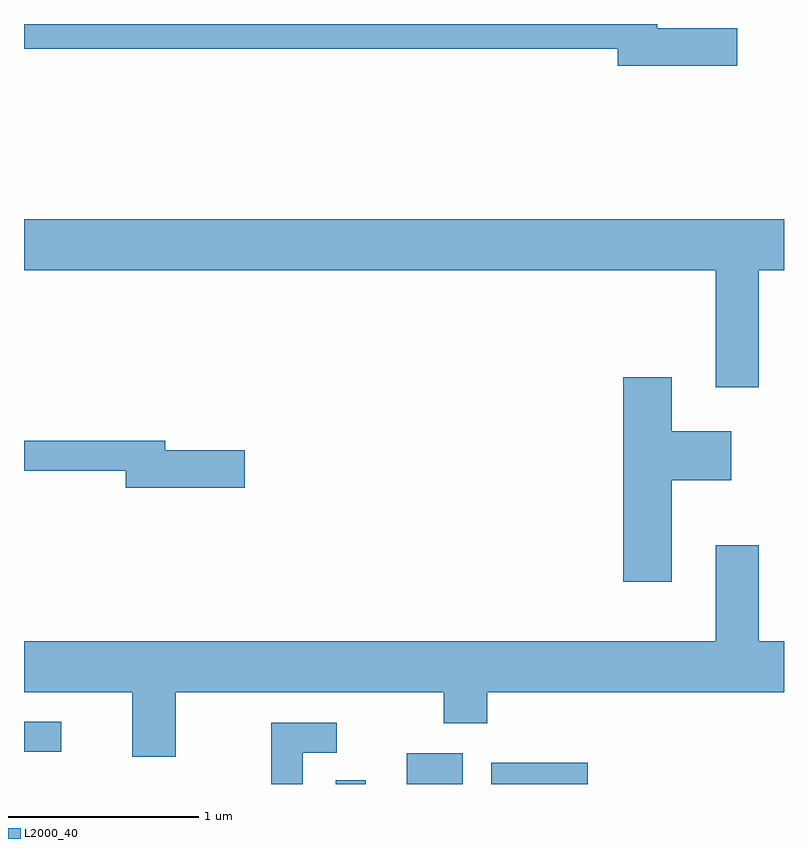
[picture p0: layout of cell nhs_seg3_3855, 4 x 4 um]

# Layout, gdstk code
import gdstk
lib = gdstk.Library(unit=1e-6, precision=1e-09)
def R(c, l, rs):  # rectangles x0, y0, x1, y1
    for r in rs: c.add(gdstk.rectangle(r[:2], r[2:], *l))
def P(c, l, *ps):  # polygons
    for p in ps: c.add(gdstk.Polygon(p, *l))
L2000_40 = (2000, 40)

nhs_seg3_3855 = lib.new_cell('nhs_seg3_3855')
R(nhs_seg3_3855, L2000_40, [(299.251,1209.892,299.409,1209.913), (299.626,1209.892,299.919,1210.054), (300.071,1209.892,300.578,1210.004), (297.611,1210.061,297.808,1210.219)])
P(nhs_seg3_3855, L2000_40, [(301.364,1213.869),(300.944,1213.869),(300.944,1213.892),(297.611,1213.892),(297.611,1213.761),(300.736,1213.761),(300.736,1213.671),(301.364,1213.671)],
  [(301.479,1212.596),(301.611,1212.596),(301.611,1212.864),(297.611,1212.864),(297.611,1212.596),(301.251,1212.596),(301.251,1211.981),(301.479,1211.981)],
  [(301.019,1211.491),(301.334,1211.491),(301.334,1211.749),(301.019,1211.749),(301.019,1212.034),(300.766,1212.034),(300.766,1210.956),(301.019,1210.956)],
  [(298.774,1211.649),(298.354,1211.649),(298.354,1211.699),(297.611,1211.699),(297.611,1211.541),(298.146,1211.541),(298.146,1211.451),(298.774,1211.451)],
  [(298.409,1210.376),(299.821,1210.376),(299.821,1210.211),(300.049,1210.211),(300.049,1210.376),(301.611,1210.376),(301.611,1210.644),(301.479,1210.644),(301.479,1211.149),(301.251,1211.149),(301.251,1210.644),(297.611,1210.644),(297.611,1210.376),(298.181,1210.376),(298.181,1210.036),(298.409,1210.036)],
  [(299.079,1210.056),(299.258,1210.056),(299.258,1210.214),(298.911,1210.214),(298.911,1209.892),(299.079,1209.892)])

lib.write_gds('nhs_seg3_3855.gds')
